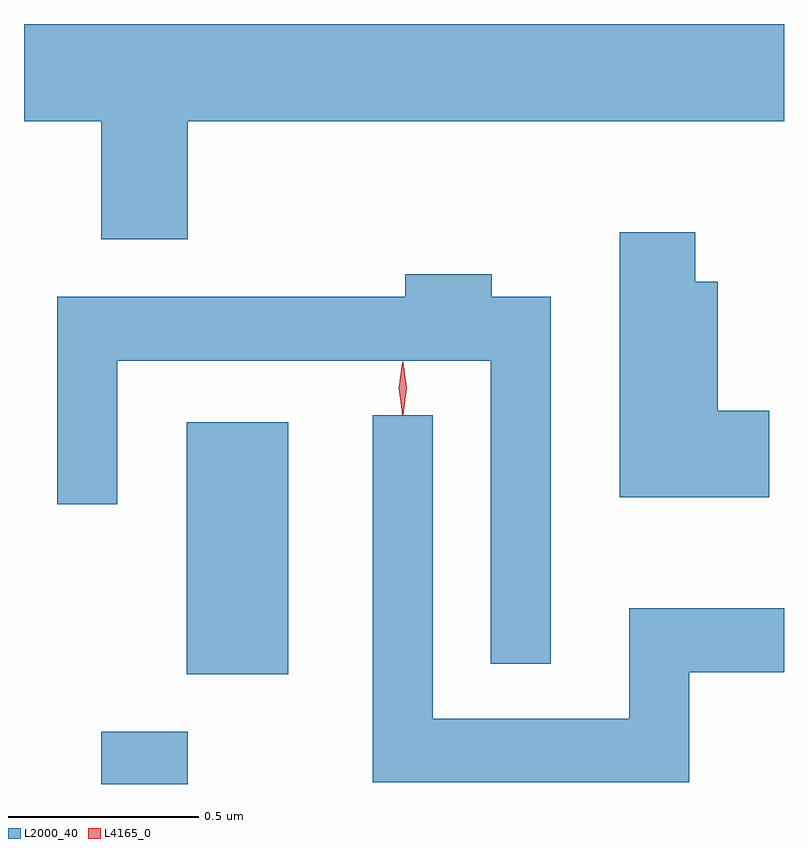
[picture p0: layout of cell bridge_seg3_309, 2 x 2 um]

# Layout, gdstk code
import gdstk
lib = gdstk.Library(unit=1e-6, precision=1e-09)
def R(c, l, rs):  # rectangles x0, y0, x1, y1
    for r in rs: c.add(gdstk.rectangle(r[:2], r[2:], *l))
def P(c, l, *ps):  # polygons
    for p in ps: c.add(gdstk.Polygon(p, *l))
L2000_40 = (2000, 40)
L4165_0 = (4165, 0)

bridge_seg3_309 = lib.new_cell('bridge_seg3_309')
R(bridge_seg3_309, L2000_40, [(578.381,1195.312,578.609,1195.449), (578.606,1195.601,578.874,1196.264)])
P(bridge_seg3_309, L2000_40, [(578.609,1197.056),(580.178,1197.056),(580.178,1197.312),(578.178,1197.312),(578.178,1197.056),(578.381,1197.056),(578.381,1196.746),(578.609,1196.746)],
  [(580.139,1196.294),(580.004,1196.294),(580.004,1196.634),(579.944,1196.634),(579.944,1196.764),(579.746,1196.764),(579.746,1196.066),(580.139,1196.066)],
  [(579.564,1196.594),(579.409,1196.594),(579.409,1196.654),(579.181,1196.654),(579.181,1196.594),(578.266,1196.594),(578.266,1196.048),(578.424,1196.048),(578.424,1196.426),(579.406,1196.426),(579.406,1195.628),(579.564,1195.628)],
  [(579.929,1195.606),(580.178,1195.606),(580.178,1195.774),(579.771,1195.774),(579.771,1195.484),(579.254,1195.484),(579.254,1196.283),(579.096,1196.283),(579.096,1195.316),(579.929,1195.316)])
P(bridge_seg3_309, L4165_0, [(579.174,1196.284),(579.165,1196.353),(579.174,1196.422),(579.175,1196.423),(579.176,1196.422),(579.185,1196.353),(579.176,1196.284),(579.175,1196.284)],
  [(579.174,1196.287),(579.173,1196.288),(579.164,1196.354),(579.173,1196.42),(579.174,1196.42),(579.174,1196.42),(579.184,1196.354),(579.174,1196.288)])

lib.write_gds('bridge_seg3_309.gds')
